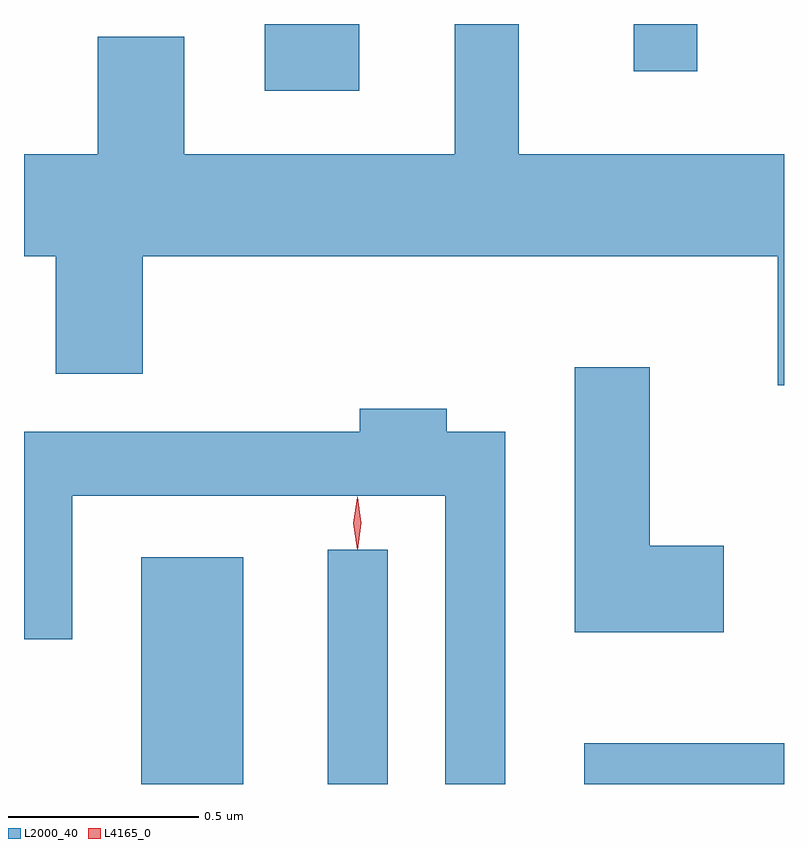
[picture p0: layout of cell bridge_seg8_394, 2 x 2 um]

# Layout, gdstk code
import gdstk
lib = gdstk.Library(unit=1e-6, precision=1e-09)
def R(c, l, rs):  # rectangles x0, y0, x1, y1
    for r in rs: c.add(gdstk.rectangle(r[:2], r[2:], *l))
def P(c, l, *ps):  # polygons
    for p in ps: c.add(gdstk.Polygon(p, *l))
L2000_40 = (2000, 40)
L4165_0 = (4165, 0)

bridge_seg8_394 = lib.new_cell('bridge_seg8_394')
R(bridge_seg8_394, L2000_40, [(723.646,1928.267,723.914,1928.864), (724.136,1928.267,724.294,1928.883), (724.811,1928.267,725.337,1928.374), (723.971,1930.091,724.219,1930.267), (724.941,1930.143,725.109,1930.267)])
P(bridge_seg8_394, L2000_40, [(725.337,1929.924),(724.639,1929.924),(724.639,1930.267),(724.471,1930.267),(724.471,1929.924),(723.759,1929.924),(723.759,1930.234),(723.531,1930.234),(723.531,1929.924),(723.337,1929.924),(723.337,1929.656),(723.421,1929.656),(723.421,1929.346),(723.649,1929.346),(723.649,1929.656),(725.321,1929.656),(725.321,1929.316),(725.337,1929.316)],
  [(725.179,1928.894),(724.984,1928.894),(724.984,1929.364),(724.786,1929.364),(724.786,1928.666),(725.179,1928.666)],
  [(724.604,1929.194),(724.449,1929.194),(724.449,1929.254),(724.221,1929.254),(724.221,1929.194),(723.337,1929.194),(723.337,1928.648),(723.464,1928.648),(723.464,1929.026),(724.446,1929.026),(724.446,1928.267),(724.604,1928.267)])
P(bridge_seg8_394, L4165_0, [(724.214,1928.884),(724.214,1928.884),(724.204,1928.953),(724.214,1929.022),(724.214,1929.023),(724.215,1929.022),(724.224,1928.953),(724.215,1928.884)],
  [(724.214,1928.887),(724.205,1928.954),(724.214,1929.02),(724.215,1929.02),(724.215,1929.02),(724.225,1928.954),(724.215,1928.887),(724.215,1928.887)])

lib.write_gds('bridge_seg8_394.gds')
